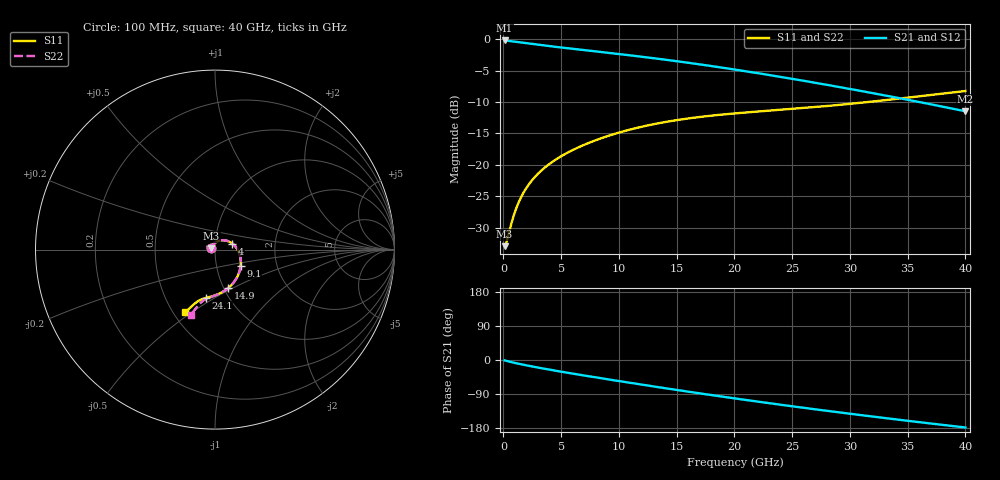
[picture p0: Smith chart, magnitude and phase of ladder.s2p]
! D_s8_stitch_none: via ladder as kisi uses it (kisi_si::via_pbm, graded grid, junction model), ports at the via
# Hz S RI R 50
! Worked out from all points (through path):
!   400 points, 100 MHz to 40 GHz, reference 50 ohm
!   highest |S21| = -0.22 dB at 100 MHz (marker M1); lowest = -11.5 dB at 40 GHz (marker M2)
!   group delay of S21, straight-line fit = 12.1 ps
!   lowest |S11| = -32.9 dB at 100 MHz (marker M3), VSWR 1.05, Z = 47.9 + j0.718 ohm
!   |S11| at or under -10 dB: start of sweep to 31.61 GHz
!   |S22| runs from -32.9 to -8.2 dB; largest |S21 - S12| = 0
!   S11 on the Smith chart (normalised r, x): 100 MHz: 0.96, +0.01; 4 GHz: 1.21, +0.08; 9.1 GHz: 1.30, -0.25; 14.9 GHz: 1.05, -0.47; 24.1 GHz: 0.78, -0.46; 40 GHz: 0.57, -0.47
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1e8  -0.0213 0.00749  0.9752 -0.0163  0.9752 -0.0163  -0.0213 0.00749
3e8  -0.0164 0.0189  0.97 -0.0453  0.97 -0.0453  -0.0164 0.0189
7e8  -0.00368 0.0343  0.9558 -0.0959  0.9558 -0.0959  -0.00378 0.0343
1.1e9  0.00996 0.0438  0.9392 -0.1405  0.9392 -0.1405  0.00976 0.0439
1.7e9  0.0304 0.0509  0.9121 -0.2001  0.9121 -0.2001  0.03 0.0511
2.2e9  0.0467 0.0521  0.8879 -0.2447  0.8879 -0.2447  0.0461 0.0525
2.7e9  0.062 0.0501  0.8627 -0.2857  0.8627 -0.2857  0.0613 0.0507
4e9  0.0962 0.0337  0.793 -0.3787  0.793 -0.3787  0.0952 0.0353
5.3e9  0.1212 0.00683  0.7189 -0.4555  0.7189 -0.4555  0.1202 0.00946
6.8e9  0.1384 -0.0312  0.6293 -0.5274  0.6293 -0.5274  0.1378 -0.0272
9.1e9  0.1424 -0.0934  0.4865 -0.6065  0.4865 -0.6065  0.1434 -0.0875
1.12e10  0.1271 -0.1456  0.3543 -0.6479  0.3543 -0.6479  0.1303 -0.1386
1.34e10  0.0984 -0.19  0.2194 -0.662  0.2194 -0.662  0.1043 -0.1827
1.49e10  0.0748 -0.2133  0.1325 -0.6559  0.1325 -0.6559  0.0826 -0.2063
1.73e10  0.0357 -0.2394  0.0063 -0.6238  0.0063 -0.6238  0.0463 -0.2337
2.01e10  -0.00614 -0.2567  -0.1157 -0.5594  -0.1157 -0.5594  0.00715 -0.2531
2.41e10  -0.0524 -0.2694  -0.2379 -0.4384  -0.2379 -0.4384  -0.0362 -0.2694
2.67e10  -0.0747 -0.2768  -0.2857 -0.3532  -0.2857 -0.3532  -0.0569 -0.279
2.99e10  -0.0973 -0.2889  -0.3151 -0.2512  -0.3151 -0.2512  -0.0772 -0.2937
3.34e10  -0.1199 -0.3069  -0.3174 -0.1507  -0.3174 -0.1507  -0.0966 -0.3146
3.67e10  -0.1421 -0.3273  -0.2986 -0.0713  -0.2986 -0.0713  -0.1149 -0.338
4e10  -0.166 -0.3491  -0.2665 -0.00879  -0.2665 -0.00879  -0.1342 -0.3634
